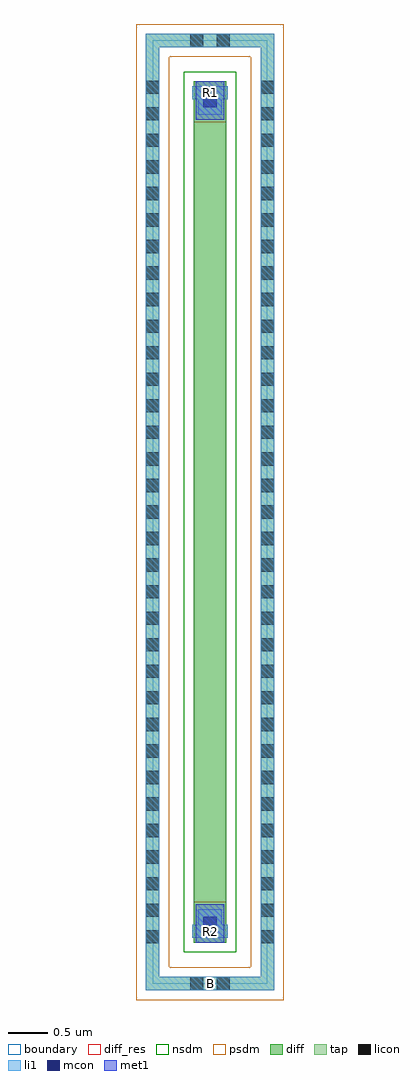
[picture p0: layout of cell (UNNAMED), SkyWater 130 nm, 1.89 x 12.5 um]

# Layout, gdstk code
import gdstk
lib = gdstk.Library(unit=1e-6, precision=1e-09)
def R(c, l, rs):  # rectangles x0, y0, x1, y1
    for r in rs: c.add(gdstk.rectangle(r[:2], r[2:], *l))
def A(c, l, x, y, w, h, nx, ny, dx, dy):  # array of equal rectangles
    R(c, l, [(x+i*dx, y+j*dy, x+i*dx+w, y+j*dy+h) for i in range(nx) for j in range(ny)])
diff_res = (65, 13)
diff = (65, 20)
tap = (65, 44)
licon = (66, 44)
li1 = (67, 20)
mcon = (67, 44)
met1 = (68, 20)
nsdm = (93, 44)
psdm = (94, 20)
boundary = (235, 4)

c__unnamed_ = lib.new_cell('(UNNAMED)')
R(c__unnamed_, diff_res, [(-0.21,-5,0.21,5)])
R(c__unnamed_, diff, [(-0.21,-5.515,0.21,5.515)])
R(c__unnamed_, tap, [(-0.82,-6.125,0.82,-5.955), (-0.82,-5.955,-0.65,5.955), (0.65,-5.955,0.82,5.955), (-0.82,5.955,0.82,6.125)])
A(c__unnamed_, licon, -0.82, -5.525, 0.17, 0.17, 1, 33, 0, 0.34)
A(c__unnamed_, licon, 0.65, -5.525, 0.17, 0.17, 1, 33, 0, 0.34)
R(c__unnamed_, licon, [(-0.255,-6.125,-0.085,-5.955), (0.085,-6.125,0.255,-5.955), (-0.085,-5.455,0.085,-5.285), (-0.085,5.285,0.085,5.455), (-0.255,5.955,-0.085,6.125), (0.085,5.955,0.255,6.125)])
R(c__unnamed_, li1, [(-0.82,-6.125,0.82,-5.955), (-0.82,-5.955,-0.65,5.955), (0.65,-5.955,0.82,5.955), (-0.23,-5.455,0.23,-5.285), (-0.15,-5.285,0.15,-5.085), (-0.15,5.085,0.15,5.285), (-0.23,5.285,0.23,5.455), (-0.82,5.955,0.82,6.125)])
R(c__unnamed_, mcon, [(-0.085,-5.355,0.085,-5.185), (-0.085,5.185,0.085,5.355)])
R(c__unnamed_, met1, [(-0.18,-5.515,0.18,-5.025), (-0.18,5.025,0.18,5.515)])
R(c__unnamed_, nsdm, [(-0.335,-5.64,0.335,5.64)])
R(c__unnamed_, psdm, [(-0.945,-6.25,0.945,-5.83), (-0.945,-5.83,-0.525,5.83), (0.525,-5.83,0.945,5.83), (-0.945,5.83,0.945,6.25)])
R(c__unnamed_, boundary, [(-0.735,-6.04,0.735,6.04)])
c__unnamed_.add(gdstk.Label('B', (0,-6.04), layer=67, texttype=5))
c__unnamed_.add(gdstk.Label('R1', (0,5.37), layer=67, texttype=5))
c__unnamed_.add(gdstk.Label('R2', (0,-5.37), layer=67, texttype=5))

lib.write_gds('_UNNAMED_.gds')
